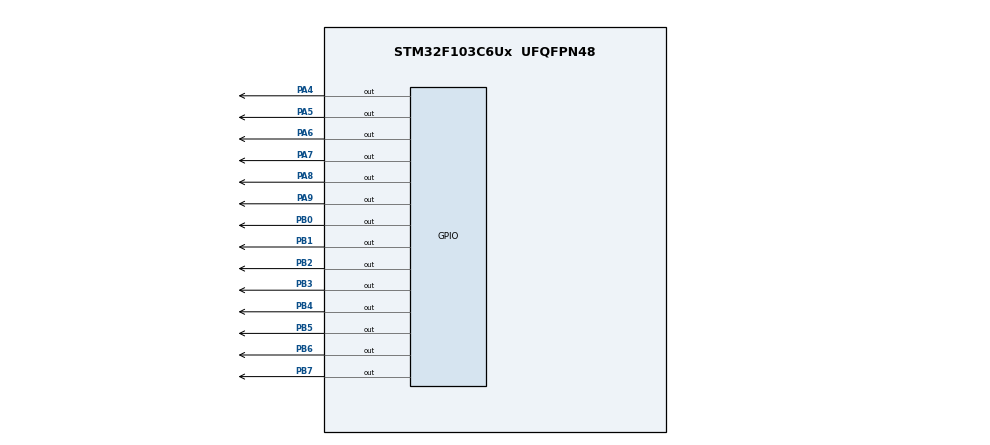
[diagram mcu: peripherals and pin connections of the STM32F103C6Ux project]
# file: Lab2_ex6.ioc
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Mcu.Family=STM32F1
Mcu.Name=STM32F103C6Ux
Mcu.Package=UFQFPN48
NVIC.PriorityGroup=NVIC_PRIORITYGROUP_4
NVIC.TIM2_IRQn=true\:0\:0\:false\:false\:true\:true\:true
PA4.Signal=GPIO_Output
PA5.Signal=GPIO_Output
PA6.Signal=GPIO_Output
PA7.Signal=GPIO_Output
PA8.Signal=GPIO_Output
PA9.Signal=GPIO_Output
PB0.Signal=GPIO_Output
PB1.Signal=GPIO_Output
PB2.Signal=GPIO_Output
PB3.Signal=GPIO_Output
PB4.Signal=GPIO_Output
PB5.Signal=GPIO_Output
PB6.Signal=GPIO_Output
PB7.Signal=GPIO_Output
ProjectManager.HeapSize=0x200
ProjectManager.StackSize=0x400
ProjectManager.TargetToolchain=STM32CubeIDE
RCC.APB1Freq_Value=8000000
RCC.APB2Freq_Value=8000000
TIM2.Period=9
TIM2.Prescaler=7999
VP_SYS_VS_ND.Mode=No_Debug
VP_TIM2_VS_ClockSourceINT.Mode=Internal
board=custom

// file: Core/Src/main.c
/* USER CODE BEGIN Header */
/**
  ******************************************************************************
  * @file           : main.c
  * @brief          : Main program body
  ******************************************************************************
  * @attention
  *
  * <h2><center>&copy; Copyright (c) 2022 STMicroelectronics.
  * All rights reserved.</center></h2>
  *
  * This software component is licensed by ST under BSD 3-Clause license,
  * the "License"; You may not use this file except in compliance with the
  * License. You may obtain a copy of the License at:
  *                        opensource.org/licenses/BSD-3-Clause
  *
  ******************************************************************************
  */
/* USER CODE END Header */
#include "main.h"
#include "software_timer.h"

TIM_HandleTypeDef htim2;

void SystemClock_Config(void);
static void MX_GPIO_Init(void);
static void MX_TIM2_Init(void);

int main(void)
{

  /* MCU Configuration--------------------------------------------------------*/

  /* Reset of all peripherals, Initializes the Flash interface and the Systick. */
  HAL_Init();

  /* Configure the system clock */
  SystemClock_Config();

  /* Initialize all configured peripherals */
  MX_GPIO_Init();
  MX_TIM2_Init();
  /* USER CODE BEGIN 2 */
  HAL_TIM_Base_Start_IT (& htim2 );
  /* USER CODE END 2 */

  /* Infinite loop */
  /* USER CODE BEGIN WHILE */
  int j = 0;
  setTimer0(1000);
  setTimer1(1000);
  unsigned int hour = 15, minute = 8, second = 54;
  while (1)
  {
    /* USER CODE END WHILE */
	  if( timer0_flag == 1){
	  setTimer0 (1000) ;
	  update7SEG(++j);
	  if(j >= 4) {j = 0;}
	  second ++;
	  if ( second >= 60) {
	  second = 0;
	  updateClockBuffer();
	  minute ++;
	  }
	  if( minute >= 60) {
	  minute = 0;
	  hour ++;
	  }
	  if( hour >=24){
	  hour = 0;
	  }
	  }
	  if( timer1_flag == 1){
		  setTimer1(1000) ;
		  HAL_GPIO_TogglePin(GPIOA, GPIO_PIN_4);
	  }
}
}

void SystemClock_Config(void)
{
  RCC_OscInitTypeDef RCC_OscInitStruct = {0};
  RCC_ClkInitTypeDef RCC_ClkInitStruct = {0};

  /** Initializes the RCC Oscillators according to the specified parameters
  * in the RCC_OscInitTypeDef structure.
  */
  RCC_OscInitStruct.OscillatorType = RCC_OSCILLATORTYPE_HSI;
  RCC_OscInitStruct.HSIState = RCC_HSI_ON;
  RCC_OscInitStruct.HSICalibrationValue = RCC_HSICALIBRATION_DEFAULT;
  RCC_OscInitStruct.PLL.PLLState = RCC_PLL_NONE;
  if (HAL_RCC_OscConfig(&RCC_OscInitStruct) != HAL_OK)
  {
    Error_Handler();
  }
  /** Initializes the CPU, AHB and APB buses clocks
  */
  RCC_ClkInitStruct.ClockType = RCC_CLOCKTYPE_HCLK|RCC_CLOCKTYPE_SYSCLK
                              |RCC_CLOCKTYPE_PCLK1|RCC_CLOCKTYPE_PCLK2;
  RCC_ClkInitStruct.SYSCLKSource = RCC_SYSCLKSOURCE_HSI;
  RCC_ClkInitStruct.AHBCLKDivider = RCC_SYSCLK_DIV1;
  RCC_ClkInitStruct.APB1CLKDivider = RCC_HCLK_DIV1;
  RCC_ClkInitStruct.APB2CLKDivider = RCC_HCLK_DIV1;

  if (HAL_RCC_ClockConfig(&RCC_ClkInitStruct, FLASH_LATENCY_0) != HAL_OK)
  {
    Error_Handler();
  }
}

static void MX_TIM2_Init(void)
{

  TIM_ClockConfigTypeDef sClockSourceConfig = {0};
  TIM_MasterConfigTypeDef sMasterConfig = {0};

  htim2.Instance = TIM2;
  htim2.Init.Prescaler = 7999;
  htim2.Init.CounterMode = TIM_COUNTERMODE_UP;
  htim2.Init.Period = 9;
  htim2.Init.ClockDivision = TIM_CLOCKDIVISION_DIV1;
  htim2.Init.AutoReloadPreload = TIM_AUTORELOAD_PRELOAD_DISABLE;
  if (HAL_TIM_Base_Init(&htim2) != HAL_OK)
  {
    Error_Handler();
  }
  sClockSourceConfig.ClockSource = TIM_CLOCKSOURCE_INTERNAL;
  if (HAL_TIM_ConfigClockSource(&htim2, &sClockSourceConfig) != HAL_OK)
  {
    Error_Handler();
  }
  sMasterConfig.MasterOutputTrigger = TIM_TRGO_RESET;
  sMasterConfig.MasterSlaveMode = TIM_MASTERSLAVEMODE_DISABLE;
  if (HAL_TIMEx_MasterConfigSynchronization(&htim2, &sMasterConfig) != HAL_OK)
  {
    Error_Handler();
  }

}

static void MX_GPIO_Init(void)
{
  GPIO_InitTypeDef GPIO_InitStruct = {0};

  /* GPIO Ports Clock Enable */
  __HAL_RCC_GPIOA_CLK_ENABLE();
  __HAL_RCC_GPIOB_CLK_ENABLE();

  /*Configure GPIO pin Output Level */
  HAL_GPIO_WritePin(GPIOA, GPIO_PIN_4|GPIO_PIN_5|GPIO_PIN_6|GPIO_PIN_7
                          |GPIO_PIN_8|GPIO_PIN_9, GPIO_PIN_RESET);

  /*Configure GPIO pin Output Level */
  HAL_GPIO_WritePin(GPIOB, GPIO_PIN_0|GPIO_PIN_1|GPIO_PIN_2|GPIO_PIN_3
                          |GPIO_PIN_4|GPIO_PIN_5|GPIO_PIN_6|GPIO_PIN_7, GPIO_PIN_RESET);

  /*Configure GPIO pins : PA4 PA5 PA6 PA7
                           PA8 PA9 */
  GPIO_InitStruct.Pin = GPIO_PIN_4|GPIO_PIN_5|GPIO_PIN_6|GPIO_PIN_7
                          |GPIO_PIN_8|GPIO_PIN_9;
  GPIO_InitStruct.Mode = GPIO_MODE_OUTPUT_PP;
  GPIO_InitStruct.Pull = GPIO_NOPULL;
  GPIO_InitStruct.Speed = GPIO_SPEED_FREQ_LOW;
  HAL_GPIO_Init(GPIOA, &GPIO_InitStruct);

  /*Configure GPIO pins : PB0 PB1 PB2 PB3
                           PB4 PB5 PB6 PB7 */
  GPIO_InitStruct.Pin = GPIO_PIN_0|GPIO_PIN_1|GPIO_PIN_2|GPIO_PIN_3
                          |GPIO_PIN_4|GPIO_PIN_5|GPIO_PIN_6|GPIO_PIN_7;
  GPIO_InitStruct.Mode = GPIO_MODE_OUTPUT_PP;
  GPIO_InitStruct.Pull = GPIO_NOPULL;
  GPIO_InitStruct.Speed = GPIO_SPEED_FREQ_LOW;
  HAL_GPIO_Init(GPIOB, &GPIO_InitStruct);

}

/* USER CODE BEGIN 4 */
void Seven_seg(unsigned int a)
  {
	switch(a){
	case 1:
	{
		  	  HAL_GPIO_WritePin ( GPIOB, GPIO_PIN_0 ,GPIO_PIN_RESET );
		  	  HAL_GPIO_WritePin ( GPIOB, GPIO_PIN_1 ,GPIO_PIN_RESET );
		  	  HAL_GPIO_WritePin ( GPIOB, GPIO_PIN_2 ,GPIO_PIN_RESET );
		  	  HAL_GPIO_WritePin ( GPIOB, GPIO_PIN_3 ,GPIO_PIN_RESET );
		  	  HAL_GPIO_WritePin ( GPIOB, GPIO_PIN_4 ,GPIO_PIN_RESET );
		  	  HAL_GPIO_WritePin ( GPIOB, GPIO_PIN_5 ,GPIO_PIN_RESET );
		  	  HAL_GPIO_WritePin ( GPIOB, GPIO_PIN_6 ,GPIO_PIN_SET );
		  	  break;
	}
	case 2:
	{
		  	  HAL_GPIO_WritePin ( GPIOB, GPIO_PIN_0 ,GPIO_PIN_SET );
		  	  HAL_GPIO_WritePin ( GPIOB, GPIO_PIN_1 ,GPIO_PIN_RESET );
		  	  HAL_GPIO_WritePin ( GPIOB, GPIO_PIN_2 ,GPIO_PIN_RESET );
		  	  HAL_GPIO_WritePin ( GPIOB, GPIO_PIN_3 ,GPIO_PIN_SET );
		  	  HAL_GPIO_WritePin ( GPIOB, GPIO_PIN_4 ,GPIO_PIN_SET );
		  	  HAL_GPIO_WritePin ( GPIOB, GPIO_PIN_5 ,GPIO_PIN_SET );
		  	  HAL_GPIO_WritePin ( GPIOB, GPIO_PIN_6 ,GPIO_PIN_SET );
		  	break;
	}
	case 3:
	{
		  	  HAL_GPIO_WritePin ( GPIOB, GPIO_PIN_0 ,GPIO_PIN_RESET );
		  	  HAL_GPIO_WritePin ( GPIOB, GPIO_PIN_1 ,GPIO_PIN_RESET );
		  	  HAL_GPIO_WritePin ( GPIOB, GPIO_PIN_2 ,GPIO_PIN_SET );
		  	  HAL_GPIO_WritePin ( GPIOB, GPIO_PIN_3 ,GPIO_PIN_RESET );
		  	  HAL_GPIO_WritePin ( GPIOB, GPIO_PIN_4 ,GPIO_PIN_RESET );
		  	  HAL_GPIO_WritePin ( GPIOB, GPIO_PIN_5 ,GPIO_PIN_SET );
		  	  HAL_GPIO_WritePin ( GPIOB, GPIO_PIN_6 ,GPIO_PIN_RESET );
		  	break;
	}
	case 4:
	{
		  	  HAL_GPIO_WritePin ( GPIOB, GPIO_PIN_0 ,GPIO_PIN_RESET );
		  	  HAL_GPIO_WritePin ( GPIOB, GPIO_PIN_1 ,GPIO_PIN_RESET );
		  	  HAL_GPIO_WritePin ( GPIOB, GPIO_PIN_2 ,GPIO_PIN_RESET );
		  	  HAL_GPIO_WritePin ( GPIOB, GPIO_PIN_3 ,GPIO_PIN_RESET );
		  	  HAL_GPIO_WritePin ( GPIOB, GPIO_PIN_4 ,GPIO_PIN_SET );
		  	  HAL_GPIO_WritePin ( GPIOB, GPIO_PIN_5 ,GPIO_PIN_SET );
		  	  HAL_GPIO_WritePin ( GPIOB, GPIO_PIN_6 ,GPIO_PIN_RESET );
		  	break;
	}
	case 5:
	{
		  	  HAL_GPIO_WritePin ( GPIOB, GPIO_PIN_0 ,GPIO_PIN_SET );
		  	  HAL_GPIO_WritePin ( GPIOB, GPIO_PIN_1 ,GPIO_PIN_RESET );
		  	  HAL_GPIO_WritePin ( GPIOB, GPIO_PIN_2 ,GPIO_PIN_RESET );
		  	  HAL_GPIO_WritePin ( GPIOB, GPIO_PIN_3 ,GPIO_PIN_SET );
		  	  HAL_GPIO_WritePin ( GPIOB, GPIO_PIN_4 ,GPIO_PIN_SET );
		  	  HAL_GPIO_WritePin ( GPIOB, GPIO_PIN_5 ,GPIO_PIN_RESET );
		  	  HAL_GPIO_WritePin ( GPIOB, GPIO_PIN_6 ,GPIO_PIN_RESET );
		  	break;
	}
	case 6:
	{
		  	  HAL_GPIO_WritePin ( GPIOB, GPIO_PIN_0 ,GPIO_PIN_RESET );
		  	  HAL_GPIO_WritePin ( GPIOB, GPIO_PIN_1 ,GPIO_PIN_SET );
		  	  HAL_GPIO_WritePin ( GPIOB, GPIO_PIN_2 ,GPIO_PIN_RESET );
		  	  HAL_GPIO_WritePin ( GPIOB, GPIO_PIN_3 ,GPIO_PIN_RESET );
		  	  HAL_GPIO_WritePin ( GPIOB, GPIO_PIN_4 ,GPIO_PIN_SET );
		  	  HAL_GPIO_WritePin ( GPIOB, GPIO_PIN_5 ,GPIO_PIN_RESET );
		  	  HAL_GPIO_WritePin ( GPIOB, GPIO_PIN_6 ,GPIO_PIN_RESET );
		  	break;
	}
	case 7:
	{
		  	  HAL_GPIO_WritePin ( GPIOB, GPIO_PIN_0 ,GPIO_PIN_RESET );
		  	  HAL_GPIO_WritePin ( GPIOB, GPIO_PIN_1 ,GPIO_PIN_SET );
		  	  HAL_GPIO_WritePin ( GPIOB, GPIO_PIN_2 ,GPIO_PIN_RESET );
		  	  HAL_GPIO_WritePin ( GPIOB, GPIO_PIN_3 ,GPIO_PIN_RESET );
		  	  HAL_GPIO_WritePin ( GPIOB, GPIO_PIN_4 ,GPIO_PIN_RESET );
		  	  HAL_GPIO_WritePin ( GPIOB, GPIO_PIN_5 ,GPIO_PIN_RESET );
		  	  HAL_GPIO_WritePin ( GPIOB, GPIO_PIN_6 ,GPIO_PIN_RESET );
		  	break;
	}
	case 8:
	{
		  	  HAL_GPIO_WritePin ( GPIOB, GPIO_PIN_0 ,GPIO_PIN_RESET );
		  	  HAL_GPIO_WritePin ( GPIOB, GPIO_PIN_1 ,GPIO_PIN_RESET );
		  	  HAL_GPIO_WritePin ( GPIOB, GPIO_PIN_2 ,GPIO_PIN_RESET );
		  	  HAL_GPIO_WritePin ( GPIOB, GPIO_PIN_3 ,GPIO_PIN_SET );
		  	  HAL_GPIO_WritePin ( GPIOB, GPIO_PIN_4 ,GPIO_PIN_SET );
		  	  HAL_GPIO_WritePin ( GPIOB, GPIO_PIN_5 ,GPIO_PIN_SET );
		  	  HAL_GPIO_WritePin ( GPIOB, GPIO_PIN_6 ,GPIO_PIN_SET );
		  	break;
	}
	case 9:
	{
		  	  HAL_GPIO_WritePin ( GPIOB, GPIO_PIN_0 ,GPIO_PIN_RESET );
		  	  HAL_GPIO_WritePin ( GPIOB, GPIO_PIN_1 ,GPIO_PIN_RESET );
		  	  HAL_GPIO_WritePin ( GPIOB, GPIO_PIN_2 ,GPIO_PIN_RESET );
		  	  HAL_GPIO_WritePin ( GPIOB, GPIO_PIN_3 ,GPIO_PIN_RESET );
		  	  HAL_GPIO_WritePin ( GPIOB, GPIO_PIN_4 ,GPIO_PIN_RESET );
		  	  HAL_GPIO_WritePin ( GPIOB, GPIO_PIN_5 ,GPIO_PIN_RESET );
		  	  HAL_GPIO_WritePin ( GPIOB, GPIO_PIN_6 ,GPIO_PIN_RESET );
		  	break;
	}
	case 10:
	{
		  	  HAL_GPIO_WritePin ( GPIOB, GPIO_PIN_0 ,GPIO_PIN_RESET );
		  	  HAL_GPIO_WritePin ( GPIOB, GPIO_PIN_1 ,GPIO_PIN_RESET );
		  	  HAL_GPIO_WritePin ( GPIOB, GPIO_PIN_2 ,GPIO_PIN_RESET );
		  	  HAL_GPIO_WritePin ( GPIOB, GPIO_PIN_3 ,GPIO_PIN_RESET );
		  	  HAL_GPIO_WritePin ( GPIOB, GPIO_PIN_4 ,GPIO_PIN_SET );
		  	  HAL_GPIO_WritePin ( GPIOB, GPIO_PIN_5 ,GPIO_PIN_RESET );
		  	  HAL_GPIO_WritePin ( GPIOB, GPIO_PIN_6 ,GPIO_PIN_RESET );
		  	break;
	}
	}
}
void Led_State(unsigned int i){
	switch(i){
	case 0:
		HAL_GPIO_WritePin(GPIOA, GPIO_PIN_6, SET);
		HAL_GPIO_WritePin(GPIOA, GPIO_PIN_7, SET);
		HAL_GPIO_WritePin(GPIOA, GPIO_PIN_8, SET);
		HAL_GPIO_WritePin(GPIOA, GPIO_PIN_9, SET);
		break;
	case 1:
		HAL_GPIO_WritePin(GPIOA, GPIO_PIN_6, RESET);
		HAL_GPIO_WritePin(GPIOA, GPIO_PIN_7, SET);
		HAL_GPIO_WritePin(GPIOA, GPIO_PIN_8, SET);
		HAL_GPIO_WritePin(GPIOA, GPIO_PIN_9, SET);
		break;
	case 2:
		HAL_GPIO_WritePin(GPIOA, GPIO_PIN_6, SET);
		HAL_GPIO_WritePin(GPIOA, GPIO_PIN_7, RESET);
		HAL_GPIO_WritePin(GPIOA, GPIO_PIN_8, SET);
		HAL_GPIO_WritePin(GPIOA, GPIO_PIN_9, SET);
		break;
	case 3:
		HAL_GPIO_WritePin(GPIOA, GPIO_PIN_6, SET);
		HAL_GPIO_WritePin(GPIOA, GPIO_PIN_7, SET);
		HAL_GPIO_WritePin(GPIOA, GPIO_PIN_8, RESET);
		HAL_GPIO_WritePin(GPIOA, GPIO_PIN_9, SET);
		break;
	case 4:
		HAL_GPIO_WritePin(GPIOA, GPIO_PIN_6, SET);
		HAL_GPIO_WritePin(GPIOA, GPIO_PIN_7, SET);
		HAL_GPIO_WritePin(GPIOA, GPIO_PIN_8, SET);
		HAL_GPIO_WritePin(GPIOA, GPIO_PIN_9, RESET);
		break;
	}
}
const int Max_Led = 4;
int index_led = 0;
int led_buffer[4] = {2,6,1,9};
void update7SEG(int index){
	switch(index){
	case 1:
		Led_State(1);
		Seven_seg(led_buffer[0]);
		break;
	case 2:
		Led_State(2);
		Seven_seg(led_buffer[1]);
		break;
	case 3:
		Led_State(3);
		Seven_seg(led_buffer[2]);
		break;
	case 4:
		Led_State(4);
		Seven_seg(led_buffer[3]);
		break;
	}
}

void updateClockBuffer (){
	led_buffer[3] ++;
	if (led_buffer[3] > 10) {
		led_buffer[3] = 1;
		led_buffer[2] ++;
		  }
   if( led_buffer[2] >=7) {
	   led_buffer[2] = 1;
	   led_buffer[1] ++;
	   }
   if( led_buffer[1] > 10){
   	   led_buffer[1] = 1;
   	   led_buffer[1]++;
   	   }
   if( led_buffer[0] >=7){
	   led_buffer[0] = 1;
	   }
}

void HAL_TIM_PeriodElapsedCallback ( TIM_HandleTypeDef * htim )
{
	timer_run();
}
// YOUR OTHER CODE

/* USER CODE END 4 */

void Error_Handler(void)
{
  __disable_irq();
  while (1)
  {
  }
}

/************************ (C) COPYRIGHT STMicroelectronics *****END OF FILE****/
